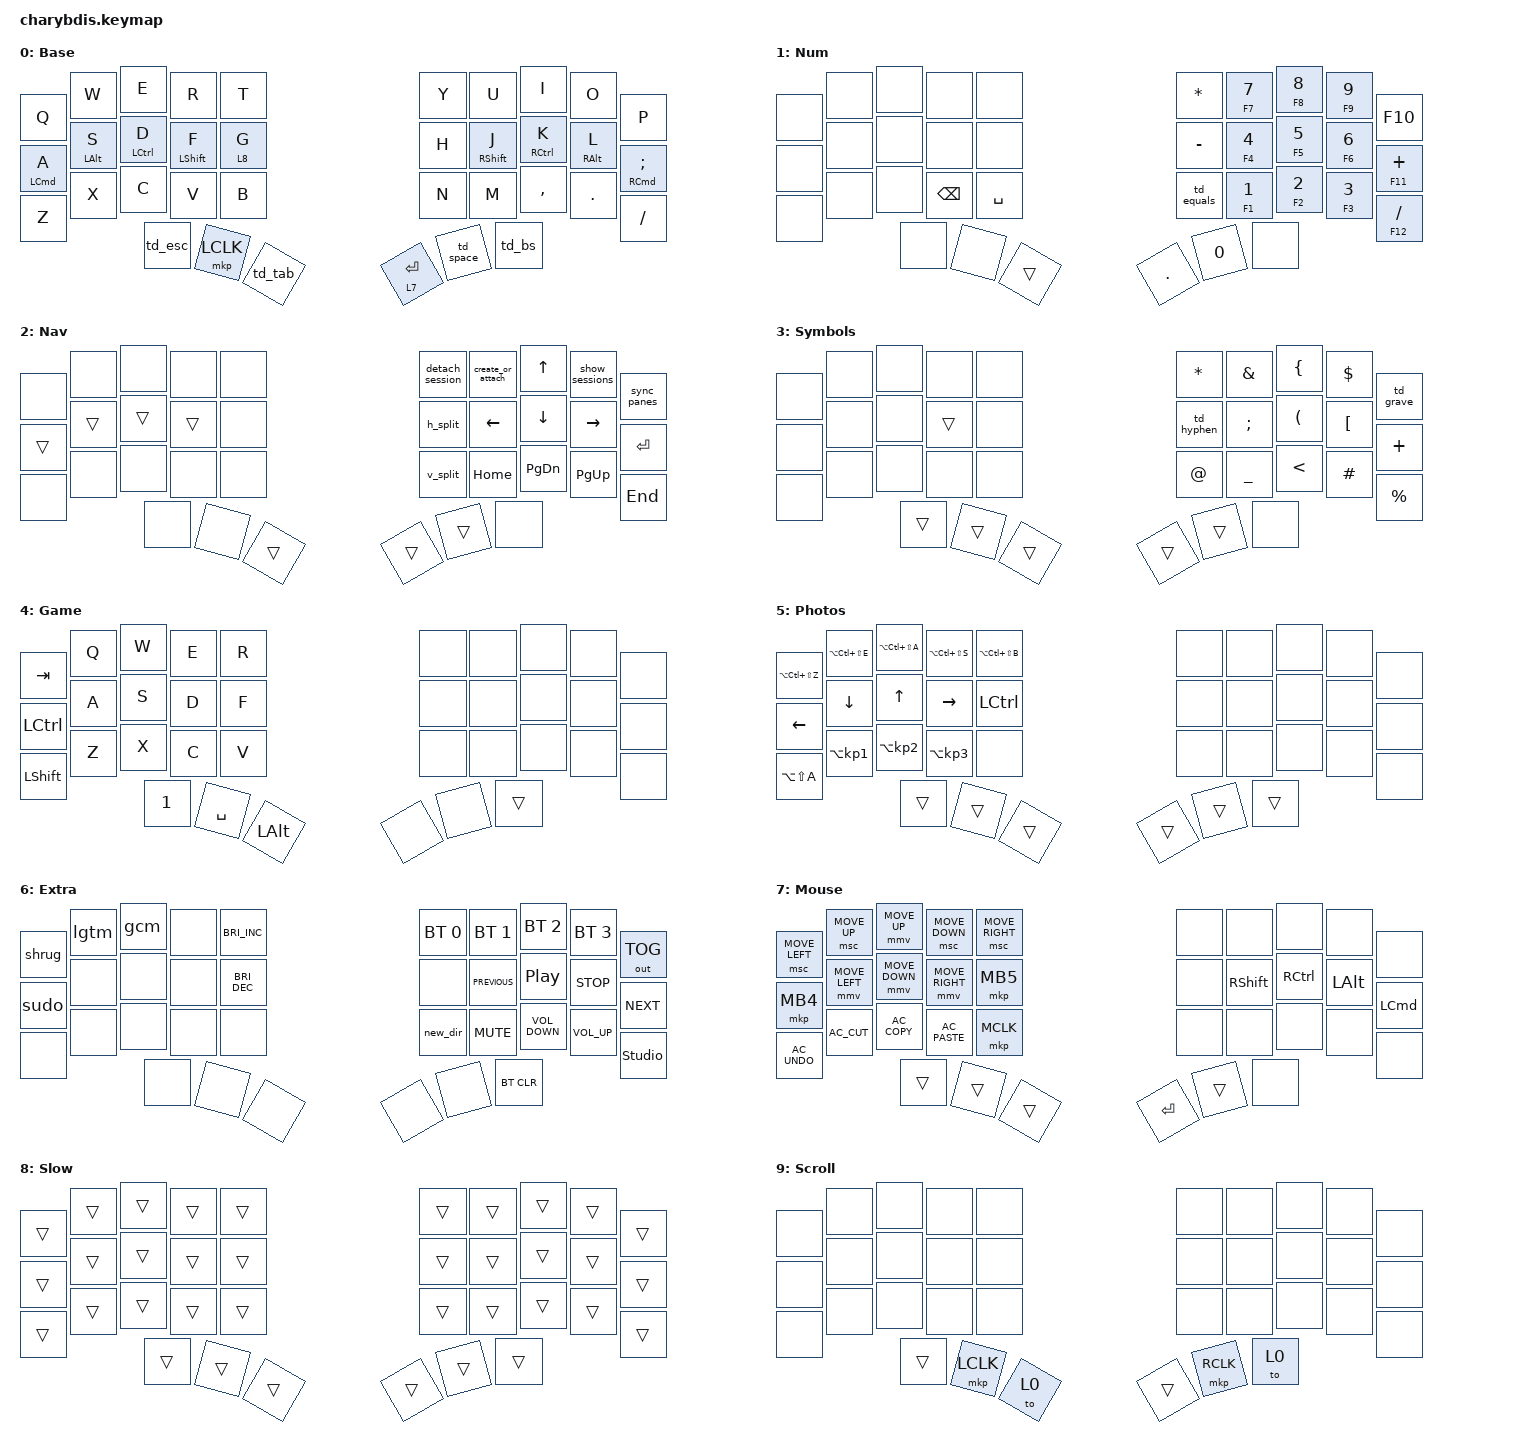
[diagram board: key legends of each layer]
#include <behaviors.dtsi>
#include <dt-bindings/zmk/bt.h>
#include <dt-bindings/zmk/keys.h>
#include <dt-bindings/zmk/mouse.h>
#include <dt-bindings/zmk/outputs.h>
#include <behaviors/mouse_keys.dtsi>
#include <dt-bindings/zmk/ext_power.h>
#include "macros.dtsi"
#include "behaviors.dtsi"
#include "combos.dtsi"

/ {
    /* input config for mouse move mode */
    trackball_listener {
        compatible = "zmk,input-behavior-listener";
        device = <&vtrackball>;
        layers = <0 2 7>;
        evt-type = <INPUT_EV_REL>;
        x-input-code = <INPUT_REL_X>;
        y-input-code = <INPUT_REL_Y>;
        scale-multiplier = <4>;
        scale-divisor = <6>;
        // bindings = <&ib_toggle_layer 7>;
    };

    /* input config for snipe mode */
    trackball_snipe_listener {
        compatible = "zmk,input-behavior-listener";   
        device = <&vtrackball>;
        layers = <8>;
        evt-type = <INPUT_EV_REL>;
        x-input-code = <INPUT_REL_X>;
        y-input-code = <INPUT_REL_Y>;
        scale-multiplier = <1>;
        scale-divisor = <6>;
    };

    /* input config for mouse scroll mode */
    trackball_scroll_listener {
        compatible = "zmk,input-behavior-listener";
        device = <&vtrackball>;
        layers = <9>;
        evt-type = <INPUT_EV_REL>;            
        x-input-code = <INPUT_REL_MISC>;
        y-input-code = <INPUT_REL_WHEEL>;
        y-invert;
        bindings = <&ib_wheel_scaler 1 100>;
    };

    /* define a resolution down scaler only for INPUT_REL_WHEEL */
    ib_wheel_scaler: ib_wheel_scaler {
        compatible = "zmk,input-behavior-scaler";
        #binding-cells = <2>;
        evt-type = <INPUT_EV_REL>;
        input-code = <INPUT_REL_WHEEL>;
    };

    /* adjust cooldown waiting period for mouse key layer after activated */
    ib_toggle_layer: ib_toggle_layer {
        compatible = "zmk,input-behavior-tog-layer";
        #binding-cells = <1>;
        time-to-live-ms = <750>;
    };
// ╭──────┬──────┬──────┬──────┬──────╮                ╭──────┬──────┬──────┬──────┬──────╮
//    00     01     02     03    04                       05     06     07     08     09
// ├──────┼──────┼──────┼──────┼──────┤                ├──────┼──────┼──────┼──────┼──────┤
//    10     11     12     13    14                       15     16     17     18     19
// ├──────┼──────┼──────┼──────┼──────┤                ├──────┼──────┼──────┼──────┼──────┤
//    20     21     22     23    24                       25     26     27     28     29
// ╰──────┴──────┴──────┼──────┼──────┼──────╮  ╭──────┼──────┼──────┴──────┴──────┴──────╯
//                         30     31     32        33     34     35
//                      ╰──────┴──────┴──────╯  ╰──────┴──────┴──────╯
// #define BASE    0
// #define NUM     1
// #define NAV     2
// #define SYM     3
// #define GAME    4
// #define PHOTOS  5
// #define EXTRAS  6
// #define MOUSE   7
// #define SLOW    8
// #define SCROLL  9

    keymap {
        compatible = "zmk,keymap";
        BASE {
            display-name = "Base";     
            bindings = <
// ╭──────────────┬──────────────┬─────────────────────────────┬──────────────────────────────────┬──────────────────────╮                ╭────────────────┬─────────────────────────┬──────────────────────────────────────┬────────────────────────────────────┬────────────────────────╮
    &kp Q           &kp W          &kp E                          &kp R                             &kp T                                    &kp Y             &kp U                      &kp I                                  &kp O                                &kp P
// ├──────────────┼──────────────┼─────────────────────────────┼──────────────────────────────────┼──────────────────────┤                ├────────────────┼─────────────────────────┼──────────────────────────────────────┼────────────────────────────────────┼────────────────────────┤
    &hm_left LCMD A &hm_left LEFT_ALT S  &hm_left LCTRL D         &hm_left LEFT_SHIFT F             &lt 8 G                                  &kp H             &hm_right RIGHT_SHIFT J    &hm_right RCTRL K                      &hm_right RIGHT_ALT L                &hm_right RCMD SEMICOLON
// ├──────────────┼──────────────┼─────────────────────────────┼──────────────────────────────────┼──────────────────────┤                ├────────────────┼─────────────────────────┼──────────────────────────────────────┼────────────────────────────────────┼────────────────────────┤
    &kp Z           &kp X          &kp C                          &kp V                             &kp B                                    &kp N             &kp M                      &kp COMMA                              &kp PERIOD                           &kp SLASH
// ╰──────────────┴──────────────┴─────────────────────────────┼──────────────────────────────────┼──────────────────────┼───────────╮  ╭──────────────────┼─────────────────────────┼──────────────────────────────────────┴────────────────────────────────────┴────────────────────────╯
                                                                  &td_esc                         &mkp LCLK              &td_tab         &lt 7 RETURN      &td_space                  &td_bs                          
                                                              // ╰────────────────────────────────┴──────────────────────┴───────────╯  ╰──────────────────┴─────────────────────────┴────────────────╯
            >;
        };

        NUM {
            display-name = "Num";     
            bindings = <
// ╭──────────────┬──────────────┬─────────────────────────────┬──────────────────────────────────┬──────────────────────╮                ╭────────────────┬─────────────────────────┬──────────────────────────────────────┬────────────────────────────────────┬────────────────────────╮
    &none           &none          &none                          &none                             &none                                   &kp ASTRK         &hm F7 N7                 &hm F8 N8                             &hm F9 N9                            &kp F10                 
// ├──────────────┼──────────────┼─────────────────────────────┼──────────────────────────────────┼──────────────────────┤                ├────────────────┼─────────────────────────┼──────────────────────────────────────┼────────────────────────────────────┼────────────────────────┤
    &none           &none          &none                          &none                             &none                                   &kp MINUS         &hm F4 N4                 &hm F5 N5                             &hm F6 N6                            &hm F11 PLUS           
// ├──────────────┼──────────────┼─────────────────────────────┼──────────────────────────────────┼──────────────────────┤                ├────────────────┼─────────────────────────┼──────────────────────────────────────┼────────────────────────────────────┼────────────────────────┤
    &none           &none          &none                          &kp BACKSPACE                     &kp SPACE                               &td_equals        &hm F1 N1                 &hm F2 N2                             &hm F3 N3                            &hm F12 SLASH          
// ╰──────────────┴──────────────┴─────────────────────────────┼──────────────────────────────────┼──────────────────────┼───────────╮  ╭──────────────────┼─────────────────────────┼──────────────────────────────────────┴────────────────────────────────────┴────────────────────────╯
                                                                  &none                             &none                   &trans          &kp DOT           &kp N0                    &none                   
                                                               // ╰────────────────────────────────┴──────────────────────┴───────────╯  ╰──────────────────┴─────────────────────────┴────────────╯            
            >;
        };

        NAV {
            display-name = "Nav";     
            bindings = <
// ╭──────────────┬──────────────┬─────────────────────────────┬──────────────────────────────────┬──────────────────────╮                ╭────────────────┬─────────────────────────┬──────────────────────────────────────┬────────────────────────────────────┬────────────────────────╮
    &none           &none          &none                          &none                             &none                                   &detach_session    &create_or_attach         &kp UP                                 &show_sessions                       &sync_panes             
// ├──────────────┼──────────────┼─────────────────────────────┼──────────────────────────────────┼──────────────────────┤                ├────────────────┼─────────────────────────┼──────────────────────────────────────┼────────────────────────────────────┼────────────────────────┤
    &trans          &trans         &trans                         &trans                            &none                                   &h_split           &kp LEFT_ARROW            &kp DOWN                               &kp RIGHT_ARROW                      &kp RETURN        
// ├──────────────┼──────────────┼─────────────────────────────┼──────────────────────────────────┼──────────────────────┤                ├────────────────┼─────────────────────────┼──────────────────────────────────────┼────────────────────────────────────┼────────────────────────┤
    &none           &none          &none                          &none                             &none                                   &v_split           &kp HOME                  &kp PG_DN                              &kp PG_UP                            &kp END                 
// ╰──────────────┴──────────────┴─────────────────────────────┼──────────────────────────────────┼──────────────────────┼───────────╮  ╭──────────────────┼─────────────────────────┼──────────────────────────────────────┴────────────────────────────────────┴────────────────────────╯
                                                                  &none                             &none                   &trans          &trans             &trans                    &none                   
                                                               // ╰────────────────────────────────┴──────────────────────┴───────────╯  ╰──────────────────┴─────────────────────────┴────────────╯            
            >;
        };

        SYM {
            display-name = "Symbols";     
            bindings = <
// ╭──────────────┬──────────────┬─────────────────────────────┬──────────────────────────────────┬──────────────────────╮                ╭────────────────┬─────────────────────────┬──────────────────────────────────────┬────────────────────────────────────┬────────────────────────╮
    &none           &none          &none                          &none                             &none                                   &kp ASTRK          &kp AMPS                  &kp LEFT_BRACE                         &kp DLLR                             &td_grave               
// ├──────────────┼──────────────┼─────────────────────────────┼──────────────────────────────────┼──────────────────────┤                ├────────────────┼─────────────────────────┼──────────────────────────────────────┼────────────────────────────────────┼────────────────────────┤
    &none           &none          &none                          &trans                            &none                                   &td_hyphen         &kp SEMICOLON             &kp LPAR                               &kp LBKT                             &kp PLUS                
// ├──────────────┼──────────────┼─────────────────────────────┼──────────────────────────────────┼──────────────────────┤                ├────────────────┼─────────────────────────┼──────────────────────────────────────┼────────────────────────────────────┼────────────────────────┤
    &none           &none          &none                          &none                             &none                                   &kp AT_SIGN        &kp UNDERSCORE            &kp LT                                 &kp HASH                             &kp PRCNT               
// ╰──────────────┴──────────────┴─────────────────────────────┼──────────────────────────────────┼──────────────────────┼───────────╮  ╭──────────────────┼─────────────────────────┼──────────────────────────────────────┴────────────────────────────────────┴────────────────────────╯
                                                                  &trans                            &trans                  &trans          &trans             &trans                    &none                   
                                                               // ╰────────────────────────────────┴──────────────────────┴───────────╯  ╰──────────────────┴─────────────────────────┴────────────╯            
            >;
        };

        GAME {
            display-name = "Game";     
            bindings = <
// ╭──────────────┬──────────────┬─────────────────────────────┬──────────────────────────────────┬──────────────────────╮                ╭────────────────┬─────────────────────────┬──────────────────────────────────────┬────────────────────────────────────┬────────────────────────╮
    &kp TAB         &kp Q          &kp W                          &kp E                             &kp R                                   &none              &none                     &none                                   &none                                &none                    
// ├──────────────┼──────────────┼─────────────────────────────┼──────────────────────────────────┼──────────────────────┤                ├────────────────┼─────────────────────────┼──────────────────────────────────────┼────────────────────────────────────┼────────────────────────┤
    &kp LCTRL       &kp A          &kp S                          &kp D                             &kp F                                   &none              &none                     &none                                   &none                                &none                    
// ├──────────────┼──────────────┼─────────────────────────────┼──────────────────────────────────┼──────────────────────┤                ├────────────────┼─────────────────────────┼──────────────────────────────────────┼────────────────────────────────────┼────────────────────────┤
    &kp LSHFT       &kp Z          &kp X                          &kp C                             &kp V                                   &none              &none                     &none                                   &none                                &none                    
// ╰──────────────┴──────────────┴─────────────────────────────┼──────────────────────────────────┼──────────────────────┼───────────╮  ╭──────────────────┼─────────────────────────┼──────────────────────────────────────┴────────────────────────────────────┴────────────────────────╯
                                                                  &kp N1                            &kp SPACE              &kp LEFT_ALT   &none              &none                     &trans                  
                                                               // ╰────────────────────────────────┴──────────────────────┴───────────╯  ╰──────────────────┴─────────────────────────┴────────────╯           
            >;
        };

        PHOTOS {
            display-name = "Photos";     
            bindings = <
// ╭──────────────┬──────────────┬─────────────────────────────┬──────────────────────────────────┬──────────────────────╮                ╭────────────────┬─────────────────────────┬──────────────────────────────────────┬────────────────────────────────────┬────────────────────────╮
    &kp LA(LC(LS(Z))) &kp LA(LC(LS(E))) &kp LA(LC(LS(A)))        &kp LA(LC(LS(S)))                  &kp LA(LC(LS(B)))                      &none              &none                     &none                                   &none                                &none                    
// ├──────────────┼──────────────┼─────────────────────────────┼──────────────────────────────────┼──────────────────────┤                ├────────────────┼─────────────────────────┼──────────────────────────────────────┼────────────────────────────────────┼────────────────────────┤
    &kp LEFT         &kp DOWN         &kp UP                      &kp RIGHT                         &kp LCTRL                              &none              &none                     &none                                   &none                                &none                    
// ├──────────────┼──────────────┼─────────────────────────────┼──────────────────────────────────┼──────────────────────┤                ├────────────────┼─────────────────────────┼──────────────────────────────────────┼────────────────────────────────────┼────────────────────────┤
    &kp LA(LS(A))     &kp LA(KP_N1)    &kp LA(KP_N2)              &kp LA(KP_N3)                     &none                                   &none              &none                     &none                                   &none                                &none                    
// ╰──────────────┴──────────────┴─────────────────────────────┼──────────────────────────────────┼──────────────────────┼───────────╮  ╭──────────────────┼─────────────────────────┼──────────────────────────────────────┴────────────────────────────────────┴────────────────────────╯
                                                                  &trans                            &trans                  &trans          &trans             &trans                    &trans                  
                                                               // ╰────────────────────────────────┴──────────────────────┴───────────╯  ╰──────────────────┴─────────────────────────┴────────────╯           
            >;
        };

        EXTRAS {
            display-name = "Extra";     
            bindings = <
// ╭──────────────┬──────────────┬─────────────────────────────┬──────────────────────────────────┬──────────────────────╮                ╭────────────────┬─────────────────────────┬──────────────────────────────────────┬────────────────────────────────────┬────────────────────────╮
    &shrug          &lgtm          &gcm                          &none                             &kp C_BRIGHTNESS_INC                     &bt BT_SEL 0       &bt BT_SEL 1              &bt BT_SEL 2                           &bt BT_SEL 3                         &out OUT_TOG             
// ├──────────────┼──────────────┼─────────────────────────────┼──────────────────────────────────┼──────────────────────┤                ├────────────────┼─────────────────────────┼──────────────────────────────────────┼────────────────────────────────────┼────────────────────────┤
    &sudo           &none          &none                          &none                             &kp C_BRIGHTNESS_DEC                     &none              &kp C_PREVIOUS            &kp C_PLAY_PAUSE                       &kp C_STOP                           &kp C_NEXT               
// ├──────────────┼──────────────┼─────────────────────────────┼──────────────────────────────────┼──────────────────────┤                ├────────────────┼─────────────────────────┼──────────────────────────────────────┼────────────────────────────────────┼────────────────────────┤
    &none           &none          &none                          &none                             &none                                   &new_dir           &kp K_MUTE                &kp C_VOLUME_DOWN                      &kp C_VOLUME_UP                      &studio_unlock           
// ╰──────────────┴──────────────┴─────────────────────────────┼──────────────────────────────────┼──────────────────────┼───────────╮  ╭──────────────────┼─────────────────────────┼──────────────────────────────────────┴────────────────────────────────────┴────────────────────────╯
                                                                  &none                             &none                   &none           &none              &none                     &bt BT_CLR               
                                                               // ╰────────────────────────────────┴──────────────────────┴───────────╯  ╰──────────────────┴─────────────────────────┴────────────╯           
            >;
        };

        MOUSE {
            display-name = "Mouse";     
            bindings = <
// ╭──────────────┬──────────────┬─────────────────────────────┬──────────────────────────────────┬──────────────────────╮                ╭────────────────┬─────────────────────────┬──────────────────────────────────────┬────────────────────────────────────┬────────────────────────╮
    &msc MOVE_LEFT   &msc MOVE_UP    &mmv MOVE_UP                 &msc MOVE_DOWN                     &msc MOVE_RIGHT                        &none              &none                     &none                                   &none                                &none                    
// ├──────────────┼──────────────┼─────────────────────────────┼──────────────────────────────────┼──────────────────────┤                ├────────────────┼─────────────────────────┼──────────────────────────────────────┼────────────────────────────────────┼────────────────────────┤
    &mkp MB4         &mmv MOVE_LEFT  &mmv MOVE_DOWN               &mmv MOVE_RIGHT                    &mkp MB5                               &none              &kp RIGHT_SHIFT           &kp RCTRL                              &kp LEFT_ALT                         &kp LCMD                 
// ├──────────────┼──────────────┼─────────────────────────────┼──────────────────────────────────┼──────────────────────┤                ├────────────────┼─────────────────────────┼──────────────────────────────────────┼────────────────────────────────────┼────────────────────────┤
    &kp C_AC_UNDO    &kp C_AC_CUT    &kp C_AC_COPY                &kp C_AC_PASTE                     &mkp MCLK                              &none              &none                     &none                                   &none                                &none                    
// ╰──────────────┴──────────────┴─────────────────────────────┼──────────────────────────────────┼──────────────────────┼───────────╮  ╭──────────────────┼─────────────────────────┼──────────────────────────────────────┴────────────────────────────────────┴────────────────────────╯
                                                                  &trans                            &trans                  &trans          &kp RETURN         &trans                    &none                   
                                                               // ╰────────────────────────────────┴──────────────────────┴───────────╯  ╰──────────────────┴─────────────────────────┴────────────╯           
            >;
        };

        SLOW {
            display-name = "Slow";     
            bindings = <
// ╭──────────────┬──────────────┬─────────────────────────────┬──────────────────────────────────┬──────────────────────╮                ╭──────────────┬─────────────────────┬──────────────────────────────────┬────────────────────────────────────┬────────────────────────╮
    &trans         &trans         &trans                         &trans                            &trans                                  &trans             &trans                    &trans                                  &trans                               &trans                   
// ├──────────────┼──────────────┼─────────────────────────────┼──────────────────────────────────┼──────────────────────┤                ├──────────────┼─────────────────────┼──────────────────────────────────┼────────────────────────────────────┼────────────────────────┤
    &trans         &trans         &trans                         &trans                            &trans                                  &trans             &trans                    &trans                                  &trans                               &trans                   
// ├──────────────┼──────────────┼─────────────────────────────┼──────────────────────────────────┼──────────────────────┤                ├──────────────┼─────────────────────┼──────────────────────────────────┼────────────────────────────────────┼────────────────────────┤
    &trans         &trans         &trans                         &trans                            &trans                                  &trans             &trans                    &trans                                  &trans                               &trans                   
// ╰──────────────┴──────────────┴─────────────────────────────┼──────────────────────────────────┼──────────────────────┼─────────╮  ╭──────────────┼─────────────────────┼──────────────────────────────────┴────────────────────────────────────┴────────────────────────╯
                                                                  &trans                            &trans                  &trans          &trans             &trans                    &trans                  
                                                               // ╰────────────────────────────────┴──────────────────────┴─────────╯  ╰─────────────────────┴──────────────────────┴─────────╯           
            >;
        };

        SCROLL {
            display-name = "Scroll";     
            bindings = <
// ╭──────────────┬──────────────┬─────────────────────────────┬──────────────────────────────────┬──────────────────────╮                ╭──────────────┬─────────────────────┬──────────────────────────────────┬────────────────────────────────────┬────────────────────────╮
    &none          &none          &none                          &none                             &none                                   &none              &none                     &none                                  &none                               &none                   
// ├──────────────┼──────────────┼─────────────────────────────┼──────────────────────────────────┼──────────────────────┤                ├──────────────┼─────────────────────┼──────────────────────────────────┼────────────────────────────────────┼────────────────────────┤
    &none          &none          &none                          &none                             &none                                   &none              &none                     &none                                  &none                               &none                   
// ├──────────────┼──────────────┼─────────────────────────────┼──────────────────────────────────┼──────────────────────┤                ├──────────────┼─────────────────────┼──────────────────────────────────┼────────────────────────────────────┼────────────────────────┤
    &none          &none          &none                          &none                             &none                                   &none              &none                     &none                                  &none                               &none                   
// ╰──────────────┴──────────────┴─────────────────────────────┼──────────────────────────────────┼──────────────────────┼─────────╮  ╭──────────────┼─────────────────────┼──────────────────────────────────┴────────────────────────────────────┴────────────────────────╯
                                                                  &trans                            &mkp LCLK                &to 0           &trans             &mkp RCLK                 &to 0                  
                                                               // ╰────────────────────────────────┴──────────────────────┴─────────╯  ╰─────────────────────┴──────────────────────┴─────────╯           
            >;
        };
    };
};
